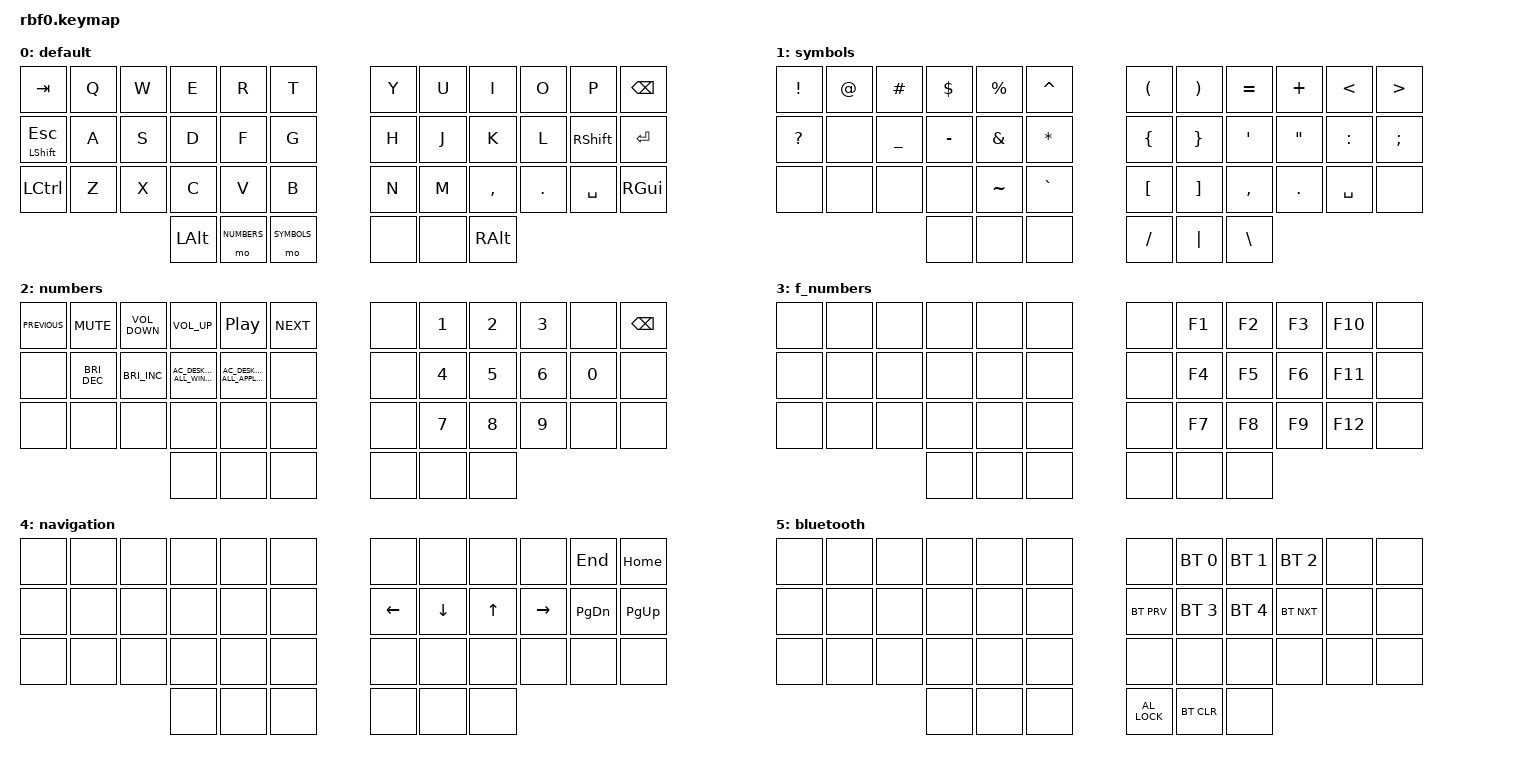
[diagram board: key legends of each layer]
#include <behaviors.dtsi>
#include <dt-bindings/zmk/keys.h>
#include <dt-bindings/zmk/bt.h>

#define DEFAULT    0
#define SYMBOLS    1
#define NUMBERS    2
#define F_NUMBERS  3
#define NAVIGATION 4
#define BLUETOOTH  5

#define _ &none

#define a &kp A
#define b &kp B
#define c &kp C
#define d &kp D
#define e &kp E
#define f &kp F
#define g &kp G
#define h &kp H
#define i &kp I
#define j &kp J
#define k &kp K
#define l &kp L
#define m &kp M
#define n &kp N
#define o &kp O
#define p &kp P
#define q &kp Q
#define q &kp Q
#define r &kp R
#define s &kp S
#define t &kp T
#define u &kp U
#define v &kp V
#define w &kp W
#define x &kp X
#define y &kp Y
#define z &kp Z

#define n0 &kp NUMBER_0
#define n1 &kp NUMBER_1
#define n2 &kp NUMBER_2
#define n3 &kp NUMBER_3
#define n4 &kp NUMBER_4
#define n5 &kp NUMBER_5
#define n6 &kp NUMBER_6
#define n7 &kp NUMBER_7
#define n8 &kp NUMBER_8
#define n9 &kp NUMBER_9

#define fn0  &kp F0
#define fn1  &kp F1
#define fn2  &kp F2
#define fn3  &kp F3
#define fn4  &kp F4
#define fn5  &kp F5
#define fn6  &kp F6
#define fn7  &kp F7
#define fn8  &kp F8
#define fn9  &kp F9
#define fn10 &kp F10
#define fn11 &kp F11
#define fn12 &kp F12

#define and     &kp AMPERSAND
#define at      &kp AT_SIGN
#define bang    &kp EXCLAMATION
#define bksp    &kp BACKSPACE
#define brgh_dw &kp C_BRIGHTNESS_DEC
#define brgh_up &kp C_BRIGHTNESS_INC
#define bslash  &kp BSLH
#define caret   &kp CARET
#define colon   &kp COLON
#define comma   &kp COMMA
#define d_qoute &kp DOUBLE_QUOTES
#define dollar  &kp DOLLAR
#define dot     &kp DOT
#define down    &kp DOWN
#define end     &kp END
#define enter   &kp ENTER
#define equal   &kp EQUAL
#define fslash  &kp FSLH
#define grave   &kp GRAVE
#define greater &kp GREATER_THAN
#define hash    &kp HASH
#define home    &kp HOME
#define lalt    &kp LEFT_ALT
#define lbrace  &kp LEFT_BRACE
#define lbrckt  &kp LEFT_BRACKET
#define lctrl   &kp LEFT_CONTROL
#define left    &kp LEFT
#define less    &kp LESS_THAN
#define lock    &kp C_AL_LOCK
#define lparen  &kp LEFT_PARENTHESIS
#define minus   &kp MINUS
#define mute    &kp C_MUTE
#define next    &kp C_NEXT
#define page_dw &kp PAGE_DOWN
#define page_up &kp PAGE_UP
#define period  &kp PERIOD
#define pipe    &kp PIPE
#define play    &kp C_PLAY_PAUSE
#define plus    &kp PLUS
#define prct    &kp PERCENT
#define prev    &kp C_PREVIOUS
#define qmark   &kp QUESTION
#define ralt    &kp RIGHT_ALT
#define rbrace  &kp RIGHT_BRACE
#define rbrckt  &kp RIGHT_BRACKET
#define rctrl   &kp RIGHT_CONTROL
#define rgui    &kp RIGHT_GUI
#define right   &kp RIGHT
#define rparen  &kp RIGHT_PARENTHESIS
#define rshift  &kp RIGHT_SHIFT
#define s_qoute &kp SINGLE_QUOTE
#define semi    &kp SEMICOLON
#define space   &kp SPACE
#define star    &kp ASTERISK
#define tab     &kp TAB
#define tilde   &kp TILDE
#define toolbox &kp C_AC_DESKTOP_SHOW_ALL_APPLICATIONS
#define up      &kp UP
#define uscore  &kp UNDERSCORE
#define vol_dw  &kp C_VOLUME_DOWN
#define vol_up  &kp C_VOLUME_UP
#define window  &kp C_AC_DESKTOP_SHOW_ALL_WINDOWS

#define bt0     &bt BT_SEL 0
#define bt1     &bt BT_SEL 1
#define bt2     &bt BT_SEL 2
#define bt3     &bt BT_SEL 3
#define bt4     &bt BT_SEL 4
#define bt_clr  &bt BT_CLR
#define bt_next &bt BT_NXT
#define bt_prev &bt BT_PRV

#define shf_esc &mt LEFT_SHIFT ESCAPE

#define mo_num &mo NUMBERS
#define mo_sym &mo SYMBOLS

&lt {
  tapping-term-ms = <150>;
};

/ {
  combos {
    compatible = "zmk,combos";
    bluetooth_layer {
      timeout-ms = <50>;
      key-positions = <0 36>;
      bindings = <&mo BLUETOOTH>;
    };
    navigation_layer {
      timeout-ms = <50>;
      key-positions = <12 37>;
      bindings = <&mo NAVIGATION>;
    };
    f_numbers_layer {
      timeout-ms = <50>;
      key-positions = <37 40>;
      bindings = <&mo F_NUMBERS>;
    };
    left_gui {
      timeout-ms = <50>;
      key-positions = <24 37>;
      bindings = <&kp LEFT_GUI>;
    };
  };
  keymap {
    compatible = "zmk,keymap";
    default {
      bindings =
        <
          tab     q       w       e       r       t         y       u       i       o       p       bksp

          shf_esc a       s       d       f       g         h       j       k       l       rshift  enter

          lctrl   z       x       c       v       b         n       m       comma   period  space   rgui

                                  lalt    mo_num  mo_sym    _       _       ralt
        >;
    };
    symbols {
      bindings =
        <
          bang    at      hash    dollar  prct    caret     lparen  rparen  equal   plus    less    greater

          qmark   _       uscore  minus   and     star      lbrace  rbrace  s_qoute d_qoute colon   semi

          _       _       _       _       tilde   grave     lbrckt  rbrckt  comma   dot     space   _

                                  _       _       _         fslash  pipe    bslash
        >;
    };
    numbers {
      bindings =
        <
          prev    mute    vol_dw  vol_up  play    next      _       n1      n2      n3      _       bksp

          _       brgh_dw brgh_up window  toolbox _         _       n4      n5      n6      n0      _

          _       _       _       _       _       _         _       n7      n8      n9      _       _

                                  _       _       _         _       _       _
        >;
    };
    f_numbers {
      bindings =
        <
          _       _       _       _       _       _         _       fn1     fn2     fn3     fn10    _

          _       _       _       _       _       _         _       fn4     fn5     fn6     fn11    _

          _       _       _       _       _       _         _       fn7     fn8     fn9     fn12    _

                                  _       _       _         _       _       _
        >;
    };
    navigation {
      bindings =
        <
          _       _       _       _       _       _         _       _       _       _       end     home

          _       _       _       _       _       _         left   down     up      right   page_dw page_up

          _       _       _       _       _       _         _       _       _       _       _       _

                                  _       _       _         _       _       _
        >;
    };
    bluetooth {
      bindings =
        <
          _       _       _       _       _       _         _       bt0     bt1     bt2     _       _

          _       _       _       _       _       _         bt_prev bt3     bt4     bt_next _       _

          _       _       _       _       _       _         _       _       _       _       _       _

                                  _       _       _         lock    bt_clr  _
        >;
    };
  };
};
